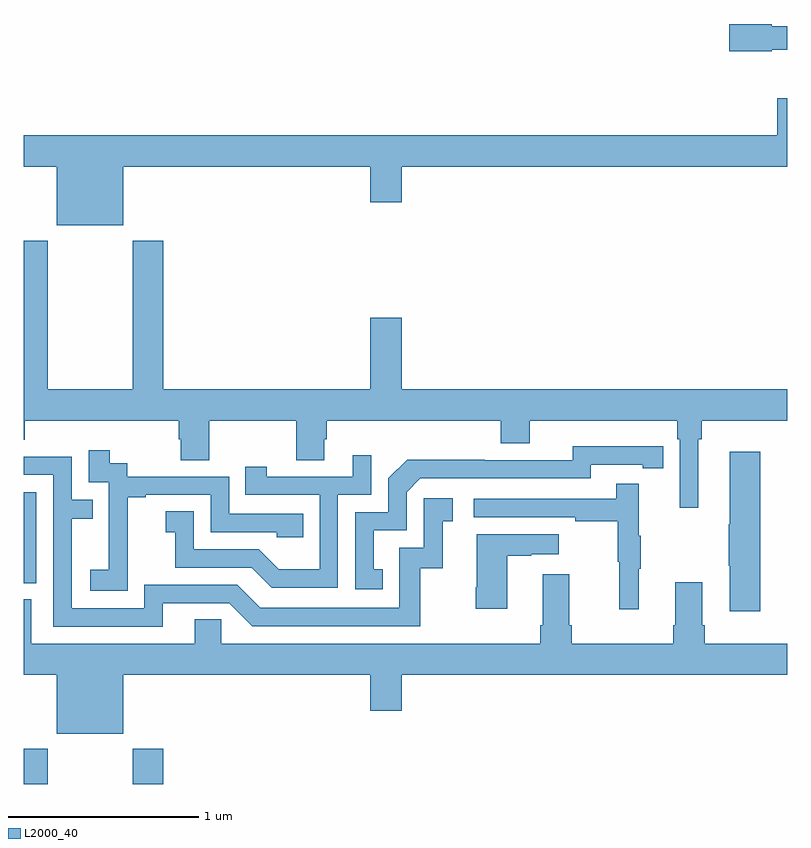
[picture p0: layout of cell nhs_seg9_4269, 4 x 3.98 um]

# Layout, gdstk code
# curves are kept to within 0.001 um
import gdstk
lib = gdstk.Library(unit=1e-6, precision=1e-09)
def R(c, l, rs):  # rectangles x0, y0, x1, y1
    for r in rs: c.add(gdstk.rectangle(r[:2], r[2:], *l))
def P(c, l, *ps):  # polygons
    for p in ps: c.add(gdstk.Polygon(p, *l))
L2000_40 = (2000, 40)

nhs_seg9_4269 = lib.new_cell('nhs_seg9_4269')
R(nhs_seg9_4269, L2000_40, [(355,1210.5,355.125,1210.684), (355.57,1210.5,355.73,1210.684), (355,1211.553,355.065,1212.03)])
P(nhs_seg9_4269, L2000_40, [(358.92,1214.348),(359,1214.348),(359,1214.47),(358.92,1214.47),(358.92,1214.483),(358.698,1214.483),(358.698,1214.341),(358.92,1214.341)],
  [(355.522,1213.736),(356.816,1213.736),(356.816,1213.548),(356.98,1213.548),(356.98,1213.736),(359,1213.736),(359,1214.095),(358.949,1214.095),(358.949,1213.9),(355,1213.9),(355,1213.736),(355.172,1213.736),(355.172,1213.427),(355.522,1213.427)],
  [(356.98,1212.943),(356.816,1212.943),(356.816,1212.568),(355.73,1212.568),(355.73,1213.348),(355.57,1213.348),(355.57,1212.568),(355.125,1212.568),(355.125,1213.348),(355,1213.348),(355,1212.305),(355.004,1212.305),(355.004,1212.404),(355.811,1212.404),(355.811,1212.306),(355.823,1212.306),(355.823,1212.196),(355.971,1212.196),(355.971,1212.404),(356.428,1212.404),(356.428,1212.196),(356.575,1212.196),(356.575,1212.306),(356.588,1212.306),(356.588,1212.404),(357.5,1212.404),(357.5,1212.287),(357.652,1212.287),(357.652,1212.404),(358.424,1212.404),(358.424,1212.308),(358.437,1212.308),(358.437,1211.949),(358.534,1211.949),(358.534,1212.308),(358.553,1212.308),(358.553,1212.404),(359,1212.404),(359,1212.568),(356.98,1212.568)],
  [(356.882,1211.625),(356.833,1211.625),(356.833,1211.829),(357.006,1211.829),(357.006,1212.03),(357.078,1212.102),(357.972,1212.102),(357.972,1212.174),(358.244,1212.174),(358.244,1212.154),(358.352,1212.154),(358.352,1212.27),(357.876,1212.271),(357.876,1212.198),(357.416,1212.198),(357.416,1212.2),(357.008,1212.2),(356.91,1212.102),(356.91,1211.925),(356.736,1211.925),(356.736,1211.52),(356.882,1211.52)],
  [(355.545,1211.719),(355.544,1211.719),(355.544,1212.003),(355.639,1212.003),(355.639,1212.015),(355.98,1212.015),(355.98,1211.82),(356.325,1211.82),(356.325,1211.793),(356.465,1211.793),(356.465,1211.916),(356.076,1211.916),(356.076,1212.111),(355.542,1212.111),(355.542,1212.18),(355.45,1212.18),(355.45,1212.25),(355.341,1212.25),(355.341,1212.081),(355.446,1212.081),(355.446,1211.852),(355.445,1211.852),(355.445,1211.623),(355.347,1211.623),(355.347,1211.513),(355.545,1211.513)],
  [(358.859,1212.241),(358.7,1212.241),(358.7,1211.861),(358.693,1211.861),(358.693,1211.644),(358.7,1211.644),(358.7,1211.406),(358.859,1211.406)],
  [(356.646,1212.015),(356.82,1212.015),(356.82,1212.223),(356.723,1212.223),(356.723,1212.111),(356.272,1212.111),(356.272,1212.163),(356.161,1212.163),(356.161,1212.015),(356.55,1212.015),(356.55,1211.626),(356.336,1211.626),(356.232,1211.73),(355.89,1211.73),(355.89,1211.929),(355.743,1211.929),(355.743,1211.819),(355.792,1211.819),(355.792,1211.634),(356.195,1211.634),(356.3,1211.529),(356.646,1211.529)],
  [(355.729,1211.448),(356.076,1211.448),(356.196,1211.328),(357.076,1211.328),(357.076,1211.631),(357.194,1211.631),(357.194,1211.877),(357.247,1211.877),(357.247,1211.998),(357.096,1211.998),(357.096,1211.739),(356.967,1211.739),(356.967,1211.424),(356.238,1211.424),(356.118,1211.544),(355.632,1211.544),(355.632,1211.421),(355.251,1211.421),(355.251,1211.89),(355.361,1211.89),(355.361,1211.991),(355.251,1211.991),(355.251,1212.216),(355,1212.216),(355,1212.12),(355.155,1212.12),(355.155,1211.325),(355.729,1211.325)],
  [(358.223,1211.627),(358.234,1211.627),(358.234,1211.801),(358.223,1211.801),(358.223,1212.073),(358.105,1212.073),(358.105,1211.994),(357.357,1211.994),(357.357,1211.898),(357.889,1211.898),(357.889,1211.878),(358.113,1211.878),(358.113,1211.664),(358.12,1211.664),(358.12,1211.415),(358.223,1211.415)],
  [(357.532,1211.695),(357.659,1211.695),(357.659,1211.705),(357.802,1211.705),(357.802,1211.809),(357.374,1211.809),(357.374,1211.53),(357.367,1211.53),(357.367,1211.418),(357.532,1211.418)],
  [(355.522,1211.072),(356.816,1211.072),(356.816,1210.884),(356.98,1210.884),(356.98,1211.072),(359,1211.072),(359,1211.236),(358.568,1211.236),(358.568,1211.332),(358.555,1211.332),(358.555,1211.557),(358.415,1211.557),(358.415,1211.332),(358.403,1211.332),(358.403,1211.236),(357.872,1211.236),(357.872,1211.332),(357.859,1211.332),(357.859,1211.599),(357.719,1211.599),(357.719,1211.332),(357.707,1211.332),(357.707,1211.236),(356.034,1211.236),(356.034,1211.363),(355.895,1211.363),(355.895,1211.236),(355.039,1211.236),(355.039,1211.468),(355,1211.468),(355,1211.072),(355.172,1211.072),(355.172,1210.763),(355.522,1210.763)])

lib.write_gds('nhs_seg9_4269.gds')
